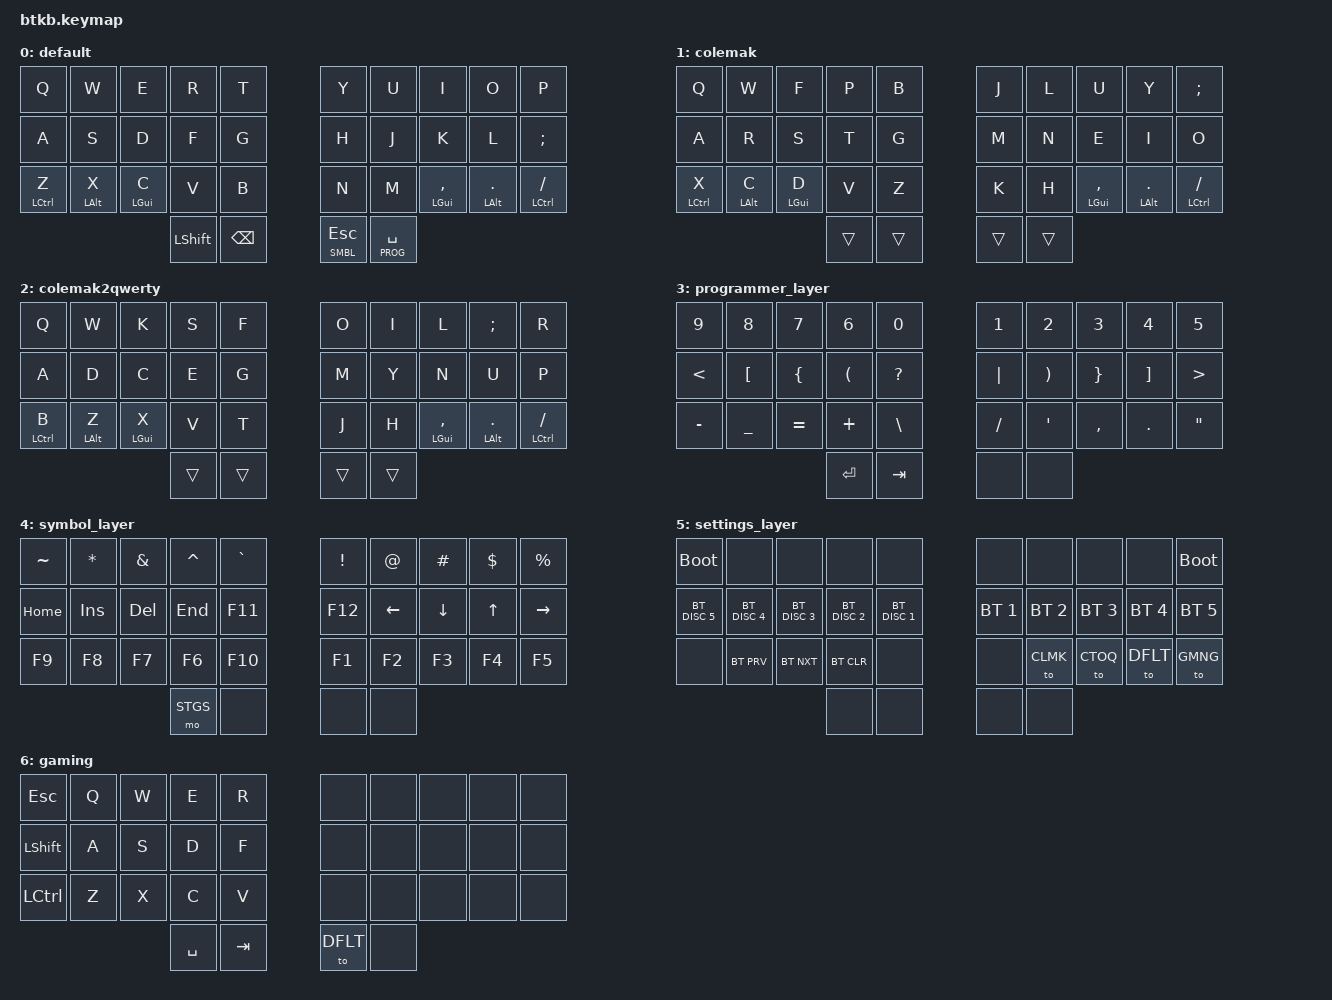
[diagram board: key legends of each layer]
#include <behaviors.dtsi>
#include <dt-bindings/zmk/behaviors.h>
#include <dt-bindings/zmk/keys.h>
#include <dt-bindings/zmk/bt.h>

// Default Layer
#define DFLT 0
// Colemak Layer
#define CLMK 1
// Colemak to Qwerty Layer
#define CTOQ 2
// Programming Layer
#define PROG 3
// Symbol (and FN) Layer
#define SMBL 4
// Settings Layer
#define STGS 5

// Gaming Layer
#define GMNG 6

// This key is reserved when on a certain layer (probably because it is already being held!)
#define RSRVD &none

// Row-modifiers
/* #ifndef CTL // Assume that if CTL is not defined then none of them are defined */
#define CTL &mt LCTRL
#define ALT &mt LALT
#define MET &mt LGUI
/* #endif */

/ {
	behaviors {
		mt: mod_tap {
	           flavor = "tap-preferred";
	           tapping-term-ms = <170>;
		};
	};


	combos {
		compatible = "zmk,combos";
		combo_quote {
		    timeout-ms = <50>;
		    key-positions = <16 17>;
		    bindings = <&kp APOS>;
		};
	};

	keymap {
		compatible = "zmk,keymap";

		default {
			bindings = <
			   &kp Q &kp W &kp E &kp R &kp T   &kp Y &kp U  &kp I     &kp O   &kp P
			   &kp A &kp S &kp D &kp F &kp G   &kp H &kp J  &kp K     &kp L   &kp SEMI
			   CTL Z ALT X MET C &kp V &kp B   &kp N &kp M  MET COMMA ALT DOT CTL FSLH
				          &kp LSHFT &kp BSPC   &lt SMBL ESC &lt PROG SPACE
	 		>;
		};

		// Colemak-DH to be specific
		colemak {
			bindings = <
			   &kp Q &kp W &kp F &kp P &kp B   &kp J &kp L  &kp U     &kp Y   &kp SEMI
			   &kp A &kp R &kp S &kp T &kp G   &kp M &kp N  &kp E     &kp I   &kp O
			   CTL X ALT C MET D &kp V &kp Z   &kp K &kp H  MET COMMA ALT DOT CTL FSLH
							   &trans &trans   &trans &trans
			>;
		};

		// Type Qwerty on a colemak keyboard layout
		colemak2qwerty {
			bindings = <
			   &kp Q &kp W &kp K &kp S &kp F   &kp O &kp I  &kp L     &kp SEMI   &kp R
			   &kp A &kp D &kp C &kp E &kp G   &kp M &kp Y  &kp N     &kp U   &kp P
			   CTL B ALT Z MET X &kp V &kp T   &kp J &kp H  MET COMMA ALT DOT CTL FSLH
							   &trans &trans   &trans &trans
			>;
		};

		programmer_layer {
			bindings = <
			   &kp N9    &kp N8    &kp N7    &kp N6   &kp N0 	    &kp N1   &kp N2   &kp N3    &kp N4   &kp N5
			   &kp LT    &kp LBKT  &kp LBRC  &kp LPAR &kp QMARK	    &kp PIPE &kp RPAR &kp RBRC  &kp RBKT &kp GT
			   &kp MINUS &kp UNDER &kp EQUAL &kp PLUS &kp BSLH	    &kp FSLH &kp APOS &kp COMMA &kp DOT  &kp DQT
											 &kp RET  &kp TAB  		&none    RSRVD
			>;
		};
		symbol_layer {
			bindings = <
				&kp TILDE &kp STAR &kp AMPS &kp CARET &kp GRAVE		&kp EXCL &kp AT &kp HASH &kp DLLR &kp PRCNT
				&kp HOME  &kp INS  &kp DEL  &kp END   &kp   F11 	&kp F12  &kp LEFT &kp DOWN &kp UP   &kp RIGHT
				&kp F9    &kp F8   &kp F7   &kp F6    &kp   F10		&kp F1   &kp F2   &kp F3   &kp F4   &kp F5
												 &mo STGS &none     RSRVD    &none
			>;
		};
		settings_layer {
			bindings = <
				// Top Row
				&bootloader &none &none &none &none		&none &none &none &none &bootloader
				// Home Row
				&bt BT_DISC 5 &bt BT_DISC 4 &bt BT_DISC 3 &bt BT_DISC 2 &bt BT_DISC 1 // Left
				&bt BT_SEL 1  &bt BT_SEL 2  &bt BT_SEL 3  &bt BT_SEL 4  &bt BT_SEL 5 // Right
				// Bottom Row
				&none         &bt BT_PRV    &bt BT_NXT    &bt BT_CLR    &none // Left
				&none         &to CLMK      &to CTOQ      &to DFLT      &to GMNG // Right
				// Thumb Row
				&none         RSRVD        &none         &none
			>;
		};
		gaming {
			bindings = <
			   &kp ESC   &kp Q &kp W &kp E &kp R   &none &none &none &none &none
			   &kp LSHFT &kp A &kp S &kp D &kp F   &none &none &none &none &none
			   &kp LCTRL &kp Z &kp X &kp C &kp V   &none &none &none &none &none
				              &kp SPACE &kp TAB    &to DFLT &none
			>;
		};
	};
};
